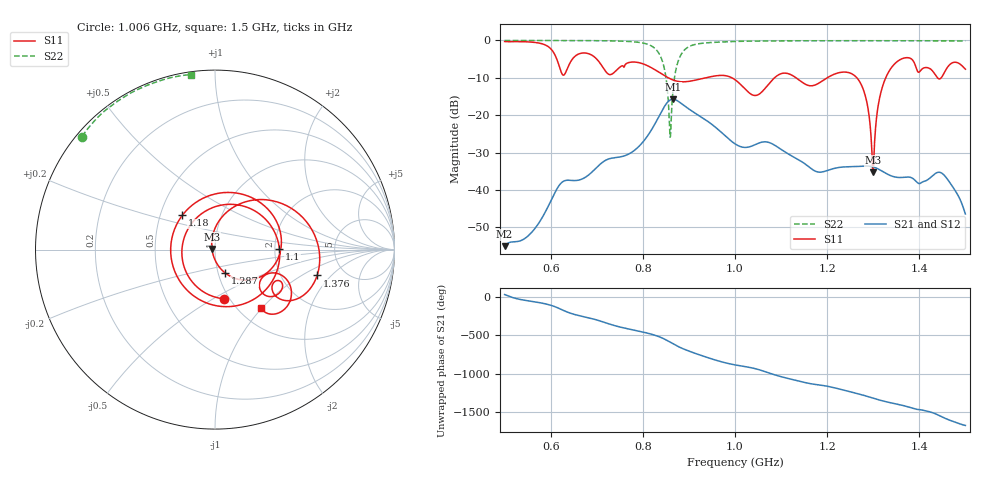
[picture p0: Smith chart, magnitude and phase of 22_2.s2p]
! TOUCHSTONE file generated by CST MICROWAVE STUDIO
! Date and time: Mon Nov 30 09:08:45 2020
! Project name: Scenario_1_Planar_Body_Tissue_Out_of_Line_v2.cst
! Parameters = {dy1=17.3; L_HA=400; Ltissue=700; MT=2.54; Rad_Dielectric=30; Rad_Lower=7.3; Rad_Upper=30; Wtissue=700; a_HA=580; a_WG=246; b_HA=500; b_WG=121; c_HA=0; c_WG=187; d_feed=85; dx1=346; h_feed=15; h_lower=18; h_upper=40; hfat=3; hgap=25; hmuscle=50; hskin=1.5}
! Header version: 2018
! Port assignment regex: !\s*Touchstone port\s*([0-9]+)\s*=\s*(CST MWS port|CST DS port)\s*([0-9]+|Zmin|Zmax)\s*\(\"(.*)\"\)(\s*mode\s*([0-9]+))?.*
! Touchstone port assignment:
! Touchstone port 1 = CST MWS port 1 ("")
! Touchstone port 2 = CST MWS port 2 ("")
# GHz S DB R 50
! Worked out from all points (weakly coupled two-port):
!   1003 points, 500 MHz to 1.5 GHz, reference 50 ohm
!   highest |S21| = -15.75 dB at 865 MHz (marker M1); lowest = -55.1 dB at 500 MHz (marker M2)
!   lowest |S11| = -35.2 dB at 1.3 GHz (marker M3), VSWR 1.04, Z = 48.3 + j0.344 ohm
!   |S11| at or under -10 dB: 855.2 MHz to 936.5 MHz (81.31 MHz wide, 9.08 % of centre); 993.2 MHz to 1.086 GHz (92.51 MHz wide, 8.9 % of centre); 1.132 GHz to 1.2 GHz (67.78 MHz wide, 5.81 % of centre)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
!   |S22| runs from -25.9 to 0.0 dB; largest |S21 - S12| = 4.3e-06
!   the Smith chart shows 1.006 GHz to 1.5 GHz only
!   S11 on the Smith chart (normalised r, x): 1.006 GHz: 0.95, -0.56; 1.1 GHz: 2.12, +0.02; 1.18 GHz: 0.65, +0.27; 1.287 GHz: 1.08, -0.28; 1.376 GHz: 3.18, -1.39; 1.5 GHz: 1.26, -0.98
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0.5  -0.30 -121.7  -55.06 35.7  -55.06 35.7  -0.01 151.2
0.667  -3.40 156.9  -37.14 112.0  -37.14 112.0  -0.04 138.4
0.695  -4.43 100.0  -34.59 71.5  -34.59 71.5  -0.06 135.4
0.716  -7.72 26.9  -32.31 32.5  -32.31 32.5  -0.09 132.9
0.741  -8.20 -97.1  -31.35 -14.9  -31.35 -14.9  -0.14 129.1
0.77  -5.91 173.6  -30.36 -56.0  -30.36 -56.0  -0.28 123.2
0.802  -6.34 102.8  -26.91 -97.6  -26.91 -97.6  -0.74 111.9
0.834  -8.44 27.2  -20.55 -153.8  -20.55 -153.8  -3.29 85.7
0.865  -10.56 -62.5  -15.75 112.2  -15.75 112.2  -13.98 -132.4
0.884  -11.07 -124.3  -16.92 54.4  -16.92 54.4  -3.56 -173.9
0.936  -10.01 85.4  -21.25 -60.7  -21.25 -60.7  -0.67 152.2
1  -10.51 -64.2  -27.67 -165.4  -27.67 -165.4  -0.28 140.4
1.006  -11.09 -79.4  -28.11 -171.8  -28.11 -171.8  -0.25 139.6
1.1  -8.90 0.8  -29.16 40.5  -29.16 40.5  -0.12 129.7
1.167  -12.13 171.8  -34.45 -54.8  -34.45 -54.8  -0.10 124.2
1.18  -11.57 133.7  -35.21 -65.7  -35.21 -65.7  -0.10 123.2
1.24  -8.48 15.4  -33.84 -142.0  -33.84 -142.0  -0.08 118.7
1.287  -17.07 -66.9  -33.61 142.7  -33.61 142.7  -0.08 115.1
1.3  -35.24 168.1  -33.85 118.8  -33.85 118.8  -0.08 114.1
1.334  -8.31 46.5  -35.98 63.5  -35.98 63.5  -0.08 111.5
1.376  -4.63 -14.2  -36.54 4.2  -36.54 4.2  -0.09 108.3
1.5  -7.69 -51.6  -46.44 121.7  -46.44 121.7  -0.14 98.0
